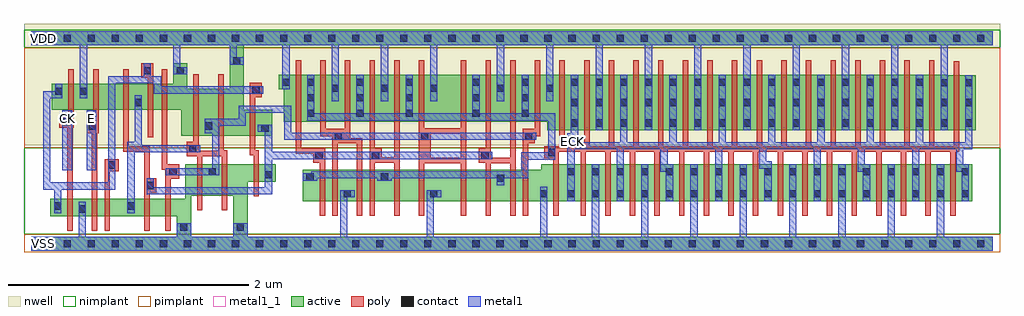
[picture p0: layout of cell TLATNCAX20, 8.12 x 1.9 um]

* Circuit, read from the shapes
.subckt TLATNCAX20 CK E ECK VDD VSS
M1 VSS CK n1 VSS nfet w=0.145u l=0.045u
M2 n2 E VSS VSS nfet w=0.145u l=0.045u
M3 n3 n1 n2 VSS nfet w=0.145u l=0.045u
M4 n4 n5 n3 VSS nfet w=0.145u l=0.045u
M5 VSS n6 n4 VSS nfet w=0.145u l=0.045u
M6 n6 n3 VSS VSS nfet w=0.26u l=0.045u m=2
M7 n5 n1 VSS VSS nfet w=0.145u l=0.045u
M8 n7 n5 n8 VSS nfet w=0.26u l=0.045u
M9 VSS n6 n7 VSS nfet w=0.26u l=0.045u
M10 n9 n6 VSS VSS nfet w=0.26u l=0.045u
M11 n8 n5 n9 VSS nfet w=0.26u l=0.045u
M12 n10 n5 n8 VSS nfet w=0.26u l=0.045u
M13 VSS n6 n10 VSS nfet w=0.26u l=0.045u
M14 n11 n6 VSS VSS nfet w=0.26u l=0.045u
M15 n8 n5 n11 VSS nfet w=0.26u l=0.045u
M16 n12 n5 n8 VSS nfet w=0.26u l=0.045u
M17 VSS n6 n12 VSS nfet w=0.26u l=0.045u
M18 ECK n8 VSS VSS nfet w=0.305u l=0.045u m=17
M19 VDD CK n1 VDD pfet w=0.215u l=0.045u
M20 n13 E VDD VDD pfet w=0.215u l=0.045u
M21 n3 n5 n13 VDD pfet w=0.215u l=0.045u
M22 n14 n1 n3 VDD pfet w=0.215u l=0.045u
M23 VDD n6 n14 VDD pfet w=0.215u l=0.045u
M24 n6 n3 VDD VDD pfet w=0.39u l=0.045u m=2
M25 n5 n1 VDD VDD pfet w=0.215u l=0.045u
M26 n8 n5 VDD VDD pfet w=0.39u l=0.045u m=5
M27 VDD n6 n8 VDD pfet w=0.39u l=0.045u m=5
M28 ECK n8 VDD VDD pfet w=0.46u l=0.045u m=16
M29 ECK n8 VDD VDD pfet w=0.455u l=0.045u
.ends

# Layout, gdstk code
import gdstk
lib = gdstk.Library(unit=1e-6, precision=5e-10)
def R(c, l, rs):  # rectangles x0, y0, x1, y1
    for r in rs: c.add(gdstk.rectangle(r[:2], r[2:], *l))
def A(c, l, x, y, w, h, nx, ny, dx, dy):  # array of equal rectangles
    R(c, l, [(x+i*dx, y+j*dy, x+i*dx+w, y+j*dy+h) for i in range(nx) for j in range(ny)])
def P(c, l, *ps):  # polygons
    for p in ps: c.add(gdstk.Polygon(p, *l))
active = (1, 0)
nwell = (2, 0)
poly = (3, 0)
nimplant = (4, 0)
pimplant = (5, 0)
contact = (6, 0)
metal1 = (7, 0)
metal1_1 = (7, 1)

tlatncax20 = lib.new_cell('TLATNCAX20')
P(tlatncax20, active, [(0,1.77),(8,1.77),(8,1.65),(1.77,1.65),(1.77,1.115),(2.005,1.115),(2.005,0.9),(1.25,0.9),(1.25,1.115),(0.17,1.115),(0.17,1.33),(1.18,1.33),(1.18,1.5),(1.3,1.5),(1.3,1.29),(1.65,1.29),(1.65,1.65),(0,1.65)],
  [(2.06,1.405),(7.615,1.405),(7.615,1.4),(7.86,1.4),(7.86,0.945),(4.295,0.945),(4.295,1.015),(2.1,1.015),(2.1,1.285),(2.06,1.285)],
  [(1.28,0.66),(2.035,0.66),(2.035,0.515),(1.8,0.515),(1.8,0.06),(8,0.06),(8,-0.06),(0,-0.06),(0,0.06),(1.21,0.06),(1.21,0.23),(0.16,0.23),(0.16,0.375),(1.28,0.375),(1.28,0.4),(1.33,0.4),(1.33,0.06),(1.68,0.06),(1.68,0.4),(1.28,0.4)],
  [(4.245,0.66),(7.83,0.66),(7.83,0.355),(2.26,0.355),(2.26,0.615),(4.245,0.615)])
R(tlatncax20, nwell, [(-0.06,0.82,8.06,1.83)])
P(tlatncax20, poly, [(0.915,1.5),(1.015,1.5),(1.015,0.885),(0.97,0.885),(0.97,1.38),(0.915,1.38)],
  [(0.31,1.45),(0.355,1.45),(0.355,0.965),(0.345,0.965),(0.345,0.11),(0.3,0.11),(0.3,0.965),(0.235,0.965),(0.235,1.065),(0.31,1.065)],
  [(0.515,1.45),(0.56,1.45),(0.56,0.92),(0.55,0.92),(0.55,0.11),(0.505,0.11),(0.505,0.92),(0.46,0.92),(0.46,1.04),(0.515,1.04)],
  [(0.765,1.45),(0.81,1.45),(0.81,0.81),(0.985,0.81),(0.985,0.545),(1.04,0.545),(1.04,0.425),(0.985,0.425),(0.985,0.11),(0.94,0.11),(0.94,0.765),(0.765,0.765)],
  [(1.085,1.45),(1.13,1.45),(1.13,0.66),(1.23,0.66),(1.23,0.54),(1.16,0.54),(1.16,0.11),(1.115,0.11),(1.115,0.615),(1.085,0.615)],
  [(1.35,1.41),(1.395,1.41),(1.395,0.775),(1.555,0.775),(1.555,1.41),(1.6,1.41),(1.6,0.78),(1.63,0.78),(1.63,0.28),(1.585,0.28),(1.585,0.73),(1.425,0.73),(1.425,0.28),(1.38,0.28),(1.38,0.73),(1.295,0.73),(1.295,0.85),(1.35,0.85)],
  [(2.2,1.525),(2.245,1.525),(2.245,0.795),(2.445,0.795),(2.445,0.235),(2.4,0.235),(2.4,0.675),(2.345,0.675),(2.345,0.75),(2.2,0.75)],
  [(2.405,1.525),(2.45,1.525),(2.45,0.955),(2.61,0.955),(2.61,1.525),(2.655,1.525),(2.655,0.88),(2.755,0.88),(2.755,0.235),(2.71,0.235),(2.71,0.835),(2.55,0.835),(2.55,0.235),(2.505,0.235),(2.505,0.895),(2.405,0.895)],
  [(2.815,1.525),(2.86,1.525),(2.86,0.795),(2.915,0.795),(2.915,0.72),(3.02,0.72),(3.02,1.525),(3.065,1.525),(3.065,0.235),(3.02,0.235),(3.02,0.675),(2.86,0.675),(2.86,0.235),(2.815,0.235)],
  [(3.225,1.525),(3.27,1.525),(3.27,0.96),(3.575,0.96),(3.575,1.525),(3.62,1.525),(3.62,0.235),(3.575,0.235),(3.575,0.67),(3.27,0.67),(3.27,0.235),(3.225,0.235),(3.225,0.915),(3.325,0.915),(3.325,0.715),(3.575,0.715),(3.575,0.915),(3.225,0.915)],
  [(3.78,1.525),(3.825,1.525),(3.825,0.715),(3.985,0.715),(3.985,1.525),(4.03,1.525),(4.03,0.235),(3.985,0.235),(3.985,0.67),(3.825,0.67),(3.825,0.235),(3.78,0.235),(3.78,0.675),(3.725,0.675),(3.725,0.795),(3.78,0.795)],
  [(4.19,1.525),(4.235,1.525),(4.235,0.895),(4.19,0.895),(4.19,0.835),(4.135,0.835),(4.135,0.235),(4.09,0.235),(4.09,0.955),(4.19,0.955)],
  [(4.395,1.525),(4.44,1.525),(4.44,0.81),(4.6,0.81),(4.6,1.525),(4.645,1.525),(4.645,0.81),(4.805,0.81),(4.805,1.525),(4.85,1.525),(4.85,0.81),(5.01,0.81),(5.01,1.525),(5.055,1.525),(5.055,0.81),(5.215,0.81),(5.215,1.525),(5.26,1.525),(5.26,0.81),(5.42,0.81),(5.42,1.525),(5.465,1.525),(5.465,0.81),(5.625,0.81),(5.625,1.525),(5.67,1.525),(5.67,0.81),(5.83,0.81),(5.83,1.525),(5.875,1.525),(5.875,0.81),(6.035,0.81),(6.035,1.525),(6.08,1.525),(6.08,0.81),(6.24,0.81),(6.24,1.525),(6.285,1.525),(6.285,0.81),(6.445,0.81),(6.445,1.525),(6.49,1.525),(6.49,0.81),(6.65,0.81),(6.65,1.525),(6.695,1.525),(6.695,0.81),(6.855,0.81),(6.855,1.525),(6.9,1.525),(6.9,0.81),(7.06,0.81),(7.06,1.525),(7.105,1.525),(7.105,0.81),(7.265,0.81),(7.265,1.525),(7.31,1.525),(7.31,0.81),(7.47,0.81),(7.47,1.525),(7.515,1.525),(7.515,0.81),(7.675,0.81),(7.675,1.52),(7.72,1.52),(7.72,0.765),(7.69,0.765),(7.69,0.235),(7.645,0.235),(7.645,0.765),(7.485,0.765),(7.485,0.235),(7.44,0.235),(7.44,0.765),(7.28,0.765),(7.28,0.235),(7.235,0.235),(7.235,0.765),(7.075,0.765),(7.075,0.235),(7.03,0.235),(7.03,0.765),(6.87,0.765),(6.87,0.235),(6.825,0.235),(6.825,0.765),(6.665,0.765),(6.665,0.235),(6.62,0.235),(6.62,0.765),(6.46,0.765),(6.46,0.235),(6.415,0.235),(6.415,0.765),(6.255,0.765),(6.255,0.235),(6.21,0.235),(6.21,0.765),(6.05,0.765),(6.05,0.235),(6.005,0.235),(6.005,0.765),(5.845,0.765),(5.845,0.235),(5.8,0.235),(5.8,0.765),(5.64,0.765),(5.64,0.235),(5.595,0.235),(5.595,0.765),(5.435,0.765),(5.435,0.235),(5.39,0.235),(5.39,0.765),(5.23,0.765),(5.23,0.235),(5.185,0.235),(5.185,0.765),(5.025,0.765),(5.025,0.235),(4.98,0.235),(4.98,0.765),(4.82,0.765),(4.82,0.235),(4.775,0.235),(4.775,0.765),(4.615,0.765),(4.615,0.235),(4.57,0.235),(4.57,0.765),(4.39,0.765),(4.39,0.235),(4.345,0.235),(4.345,0.71),(4.27,0.71),(4.27,0.81),(4.395,0.81)],
  [(1.82,1.34),(1.92,1.34),(1.92,1.22),(1.865,1.22),(1.865,0.78),(1.895,0.78),(1.895,0.395),(1.85,0.395),(1.85,0.735),(1.82,0.735)],
  [(0.61,0.705),(0.73,0.705),(0.73,0.605),(0.655,0.605),(0.655,0.11),(0.61,0.11)])
R(tlatncax20, nimplant, [(-0.06,0.08,8.06,0.8), (-0.06,1.63,8.06,1.78)])
R(tlatncax20, pimplant, [(-0.06,-0.07,8.06,0.08), (-0.06,0.8,8.06,1.63)])
A(tlatncax20, contact, 0.07, -0.03, 0.06, 0.06, 40, 2, 0.2, 1.71)
A(tlatncax20, contact, 4.46, 0.385, 0.06, 0.06, 17, 2, 0.205, 0.185)
A(tlatncax20, contact, 4.49, 0.975, 0.06, 0.06, 17, 2, 0.205, 0.17)
A(tlatncax20, contact, 2.295, 1.055, 0.06, 0.06, 3, 3, 0.41, 0.13)
A(tlatncax20, contact, 2.5, 1.265, 0.06, 0.06, 3, 1, 0.41, 0)
A(tlatncax20, contact, 3.67, 1.315, 0.06, 0.06, 3, 1, 0.41, 0)
A(tlatncax20, contact, 4.695, 1.315, 0.06, 0.06, 14, 1, 0.205, 0)
R(tlatncax20, contact, [(1.24,0.11,1.3,0.17), (1.71,0.11,1.77,0.17), (0.395,0.26,0.455,0.32), (0.19,0.285,0.25,0.345), (0.8,0.285,0.86,0.345), (2.6,0.385,2.66,0.445), (3.32,0.385,3.38,0.445), (4.235,0.385,4.295,0.445), (0.96,0.455,1.02,0.515), (3.875,0.515,3.935,0.575), (2.29,0.525,2.35,0.585), (2.91,0.525,2.97,0.585), (1.945,0.545,2.005,0.605), (1.15,0.57,1.21,0.63), (1.475,0.57,1.535,0.63), (0.64,0.625,0.7,0.685), (2.365,0.705,2.425,0.765), (2.835,0.705,2.895,0.765), (3.745,0.705,3.805,0.765), (4.3,0.73,4.36,0.79), (1.315,0.76,1.375,0.82), (2.525,0.865,2.585,0.925), (3.245,0.865,3.305,0.925), (4.11,0.865,4.17,0.925), (1.915,0.93,1.975,0.99), (0.48,0.95,0.54,1.01), (1.445,0.95,1.505,1.01), (0.265,0.985,0.325,1.045), (3.67,1.055,3.73,1.115), (4.08,1.055,4.14,1.115), (0.86,1.145,0.92,1.205), (3.67,1.185,3.73,1.245), (4.08,1.185,4.14,1.245), (0.2,1.24,0.26,1.3), (0.405,1.24,0.465,1.3), (1.84,1.25,1.9,1.31), (3.875,1.265,3.935,1.325), (4.285,1.265,4.345,1.325), (7.565,1.31,7.625,1.37), (7.77,1.31,7.83,1.37), (2.09,1.315,2.15,1.375), (0.935,1.41,0.995,1.47), (1.21,1.41,1.27,1.47), (1.68,1.49,1.74,1.55)])
R(tlatncax20, metal1, [(0.26,0.61,0.34,1.11), (0.46,0.61,0.54,1.11)])
P(tlatncax20, metal1, [(0,1.77),(8,1.77),(8,1.65),(7.625,1.65),(7.625,0.945),(7.565,0.945),(7.565,1.65),(7.215,1.65),(7.215,0.945),(7.155,0.945),(7.155,1.65),(6.805,1.65),(6.805,0.945),(6.745,0.945),(6.745,1.65),(6.395,1.65),(6.395,0.945),(6.335,0.945),(6.335,1.65),(5.985,1.65),(5.985,0.945),(5.925,0.945),(5.925,1.65),(5.575,1.65),(5.575,0.945),(5.515,0.945),(5.515,1.65),(5.165,1.65),(5.165,0.945),(5.105,0.945),(5.105,1.65),(4.755,1.65),(4.755,0.945),(4.695,0.945),(4.695,1.65),(4.345,1.65),(4.345,1.185),(4.285,1.185),(4.285,1.65),(3.935,1.65),(3.935,1.185),(3.875,1.185),(3.875,1.65),(3.38,1.65),(3.38,1.185),(3.32,1.185),(3.32,1.65),(2.97,1.65),(2.97,1.185),(2.91,1.185),(2.91,1.65),(2.56,1.65),(2.56,1.185),(2.5,1.185),(2.5,1.65),(2.15,1.65),(2.15,1.285),(2.09,1.285),(2.09,1.65),(1.71,1.65),(1.71,1.55),(1.77,1.55),(1.77,1.49),(1.65,1.49),(1.65,1.65),(1.24,1.65),(1.24,1.47),(1.3,1.47),(1.3,1.41),(1.18,1.41),(1.18,1.65),(0.465,1.65),(0.465,1.21),(0.405,1.21),(0.405,1.65),(0,1.65)],
  [(0.935,1.5),(0.995,1.5),(0.995,1.395),(1.08,1.395),(1.08,1.31),(1.93,1.31),(1.93,1.25),(1.02,1.25),(1.02,1.335),(0.7,1.335),(0.7,0.45),(0.25,0.45),(0.25,0.255),(0.19,0.255),(0.19,0.45),(0.1,0.45),(0.1,1.27),(0.2,1.27),(0.2,1.33),(0.26,1.33),(0.26,1.21),(0.16,1.21),(0.16,0.51),(0.64,0.51),(0.64,1.395),(0.935,1.395)],
  [(2.295,1.405),(2.355,1.405),(2.355,1.085),(2.705,1.085),(2.705,1.405),(2.765,1.405),(2.765,1.085),(3.115,1.085),(3.115,1.405),(3.175,1.405),(3.175,1.085),(3.67,1.085),(3.67,1.405),(3.73,1.405),(3.73,1.085),(4.08,1.085),(4.08,1.405),(4.14,1.405),(4.14,1.085),(4.36,1.085),(4.36,0.7),(4.135,0.7),(4.135,0.545),(3.935,0.545),(3.935,0.485),(3.875,0.485),(3.875,0.545),(3,0.545),(3,0.525),(2.88,0.525),(2.88,0.545),(2.38,0.545),(2.38,0.525),(2.26,0.525),(2.26,0.585),(2.33,0.585),(2.33,0.605),(4.075,0.605),(4.075,0.76),(4.3,0.76),(4.3,1.025),(2.295,1.025)],
  [(0.86,1.235),(0.92,1.235),(0.92,0.82),(1.405,0.82),(1.405,0.76),(0.86,0.76),(0.86,0.255),(0.8,0.255),(0.8,0.85),(0.86,0.85)],
  [(1.725,1.15),(2.165,1.15),(2.165,0.925),(4.2,0.925),(4.2,0.865),(2.105,0.865),(2.105,1.09),(1.785,1.09),(1.785,0.98),(1.565,0.98),(1.565,0.57),(1.12,0.57),(1.12,0.63),(1.505,0.63),(1.505,0.92),(1.445,0.92),(1.445,1.04),(1.725,1.04)],
  [(1.885,0.99),(2.005,0.99),(2.005,0.765),(3.835,0.765),(3.835,0.705),(2.005,0.705),(2.005,0.41),(0.96,0.41),(0.96,0.545),(1.02,0.545),(1.02,0.47),(1.945,0.47),(1.945,0.93),(1.885,0.93)],
  [(2.57,0.445),(2.69,0.445),(2.69,0.385),(2.63,0.385),(2.63,0.06),(3.29,0.06),(3.29,0.445),(3.41,0.445),(3.41,0.385),(3.35,0.385),(3.35,0.06),(4.235,0.06),(4.235,0.475),(4.295,0.475),(4.295,0.06),(4.665,0.06),(4.665,0.66),(4.725,0.66),(4.725,0.06),(5.075,0.06),(5.075,0.66),(5.135,0.66),(5.135,0.06),(5.485,0.06),(5.485,0.66),(5.545,0.66),(5.545,0.06),(5.895,0.06),(5.895,0.66),(5.955,0.66),(5.955,0.06),(6.305,0.06),(6.305,0.66),(6.365,0.66),(6.365,0.06),(6.715,0.06),(6.715,0.66),(6.775,0.66),(6.775,0.06),(7.125,0.06),(7.125,0.66),(7.185,0.66),(7.185,0.06),(7.535,0.06),(7.535,0.66),(7.595,0.66),(7.595,0.06),(8,0.06),(8,-0.06),(0,-0.06),(0,0.06),(0.395,0.06),(0.395,0.35),(0.455,0.35),(0.455,0.06),(1.21,0.06),(1.21,0.17),(1.33,0.17),(1.33,0.06),(1.68,0.06),(1.68,0.17),(1.8,0.17),(1.8,0.06),(2.57,0.06)],
  [(4.49,1.405),(4.55,1.405),(4.55,0.845),(4.9,0.845),(4.9,1.405),(4.96,1.405),(4.96,0.845),(5.31,0.845),(5.31,1.405),(5.37,1.405),(5.37,0.845),(5.72,0.845),(5.72,1.405),(5.78,1.405),(5.78,0.845),(6.13,0.845),(6.13,1.405),(6.19,1.405),(6.19,0.845),(6.54,0.845),(6.54,1.405),(6.6,1.405),(6.6,0.845),(6.95,0.845),(6.95,1.405),(7.01,1.405),(7.01,0.845),(7.36,0.845),(7.36,1.405),(7.42,1.405),(7.42,0.845),(7.77,0.845),(7.77,1.4),(7.83,1.4),(7.83,0.785),(7.755,0.785),(7.755,0.66),(7.8,0.66),(7.8,0.355),(7.74,0.355),(7.74,0.6),(7.695,0.6),(7.695,0.785),(7.39,0.785),(7.39,0.355),(7.33,0.355),(7.33,0.785),(6.935,0.785),(6.935,0.66),(6.98,0.66),(6.98,0.355),(6.92,0.355),(6.92,0.6),(6.875,0.6),(6.875,0.785),(6.57,0.785),(6.57,0.355),(6.51,0.355),(6.51,0.785),(6.115,0.785),(6.115,0.685),(6.16,0.685),(6.16,0.355),(6.1,0.355),(6.1,0.625),(6.055,0.625),(6.055,0.785),(5.75,0.785),(5.75,0.355),(5.69,0.355),(5.69,0.785),(5.295,0.785),(5.295,0.66),(5.34,0.66),(5.34,0.355),(5.28,0.355),(5.28,0.6),(5.235,0.6),(5.235,0.785),(4.93,0.785),(4.93,0.355),(4.87,0.355),(4.87,0.785),(4.52,0.785),(4.52,0.355),(4.46,0.355),(4.46,0.92),(4.49,0.92)])
R(tlatncax20, metal1_1, [(0.06,-0.04,0.14,0.04), (4.46,0.815,4.54,0.895), (0.26,1.005,0.34,1.085), (0.46,1.005,0.54,1.085), (0.06,1.67,0.14,1.75)])
tlatncax20.add(gdstk.Label('ECK', (4.5,0.855), layer=7, texttype=1))
tlatncax20.add(gdstk.Label('E', (0.5,1.045), layer=7, texttype=1))
tlatncax20.add(gdstk.Label('CK', (0.3,1.045), layer=7, texttype=1))
tlatncax20.add(gdstk.Label('VDD', (0.1,1.71), layer=7, texttype=1))
tlatncax20.add(gdstk.Label('VSS', (0.1,0), layer=7, texttype=1))
tlatncax20.add(gdstk.Label('TLATNCAX20', (0,0), layer=63, texttype=0))

lib.write_gds('TLATNCAX20.gds')
